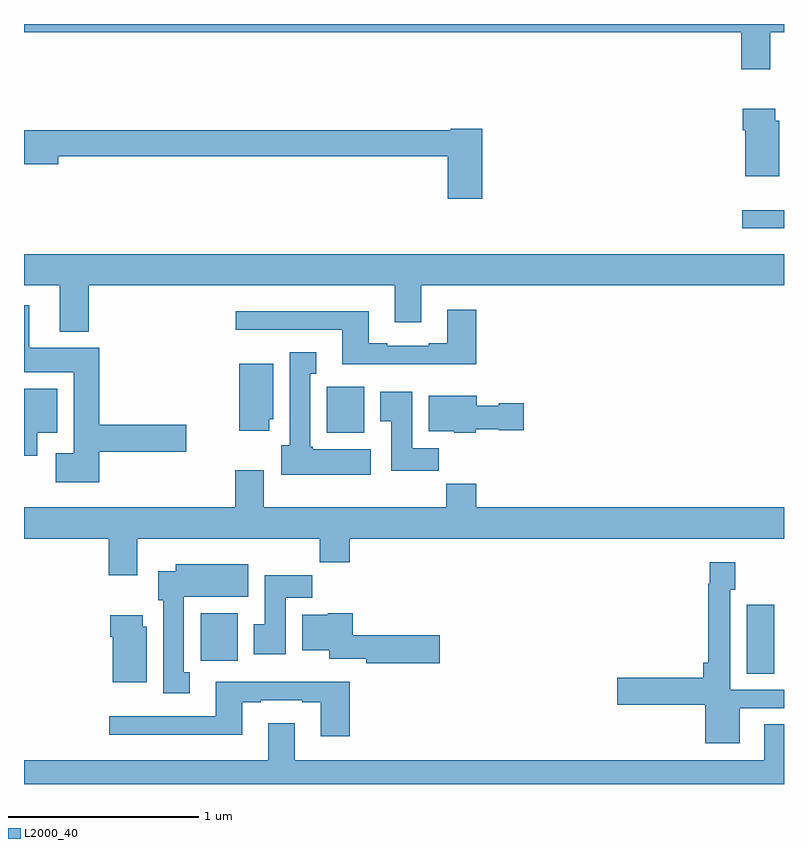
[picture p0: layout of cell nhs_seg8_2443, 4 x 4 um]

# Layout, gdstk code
import gdstk
lib = gdstk.Library(unit=1e-6, precision=1e-09)
def R(c, l, rs):  # rectangles x0, y0, x1, y1
    for r in rs: c.add(gdstk.rectangle(r[:2], r[2:], *l))
def P(c, l, *ps):  # polygons
    for p in ps: c.add(gdstk.Polygon(p, *l))
L2000_40 = (2000, 40)

nhs_seg8_2443 = lib.new_cell('nhs_seg8_2443')
R(nhs_seg8_2443, L2000_40, [(268.805,1090.48,268.948,1090.843), (265.929,1090.548,266.125,1090.798), (266.594,1091.75,266.791,1091.992), (268.779,1092.824,269,1092.921)])
P(nhs_seg8_2443, L2000_40, [(268.927,1093.856),(269,1093.856),(269,1093.9),(265,1093.9),(265,1093.856),(268.775,1093.856),(268.775,1093.662),(268.927,1093.662)],
  [(268.975,1093.392),(268.954,1093.392),(268.954,1093.453),(268.784,1093.453),(268.784,1093.34),(268.796,1093.34),(268.796,1093.1),(268.975,1093.1)],
  [(267.413,1093.348),(267.246,1093.348),(267.246,1093.34),(265,1093.34),(265,1093.162),(265.18,1093.162),(265.18,1093.204),(267.23,1093.204),(267.23,1092.981),(267.413,1092.981)],
  [(265.34,1092.524),(266.951,1092.524),(266.951,1092.33),(267.091,1092.33),(267.091,1092.524),(269,1092.524),(269,1092.688),(265,1092.688),(265,1092.524),(265.187,1092.524),(265.187,1092.281),(265.34,1092.281)],
  [(265.397,1091.65),(265.855,1091.65),(265.855,1091.792),(265.397,1091.792),(265.397,1092.196),(265.027,1092.196),(265.027,1092.421),(265,1092.421),(265,1092.068),(265.262,1092.068),(265.262,1091.641),(265.167,1091.641),(265.167,1091.489),(265.397,1091.489)],
  [(267.38,1092.397),(267.227,1092.397),(267.227,1092.22),(267.131,1092.22),(267.131,1092.207),(266.911,1092.207),(266.911,1092.22),(266.815,1092.22),(266.815,1092.388),(266.115,1092.388),(266.115,1092.291),(266.675,1092.291),(266.675,1092.11),(267.38,1092.11)],
  [(266.824,1091.662),(266.52,1091.662),(266.52,1091.676),(266.506,1091.676),(266.506,1092.059),(266.539,1092.059),(266.539,1092.172),(266.399,1092.172),(266.399,1091.682),(266.354,1091.682),(266.354,1091.528),(266.824,1091.528)],
  [(266.29,1091.82),(266.311,1091.82),(266.311,1092.112),(266.132,1092.112),(266.132,1091.76),(266.29,1091.76)],
  [(265.069,1091.75),(265.174,1091.75),(265.174,1091.98),(265,1091.98),(265,1091.628),(265.069,1091.628)],
  [(267.182,1091.668),(267.043,1091.668),(267.043,1091.965),(266.876,1091.965),(266.876,1091.809),(266.933,1091.809),(266.933,1091.55),(267.182,1091.55)],
  [(267.378,1091.768),(267.498,1091.768),(267.498,1091.761),(267.631,1091.761),(267.631,1091.903),(267.498,1091.903),(267.498,1091.89),(267.382,1091.89),(267.382,1091.944),(267.131,1091.944),(267.131,1091.756),(267.264,1091.756),(267.264,1091.75),(267.378,1091.75)],
  [(265.597,1091.192),(266.557,1091.192),(266.557,1091.068),(266.714,1091.068),(266.714,1091.192),(269,1091.192),(269,1091.356),(267.38,1091.356),(267.38,1091.48),(267.223,1091.48),(267.223,1091.356),(266.263,1091.356),(266.263,1091.551),(266.111,1091.551),(266.111,1091.356),(265,1091.356),(265,1091.192),(265.445,1091.192),(265.445,1090.998),(265.597,1090.998)],
  [(268.768,1090.299),(269,1090.299),(269,1090.395),(268.716,1090.395),(268.716,1090.923),(268.743,1090.923),(268.743,1091.068),(268.608,1091.068),(268.608,1090.955),(268.6,1090.955),(268.6,1090.537),(268.574,1090.537),(268.574,1090.46),(268.122,1090.46),(268.122,1090.318),(268.586,1090.318),(268.586,1090.115),(268.768,1090.115)],
  [(265.873,1090.489),(265.84,1090.489),(265.84,1090.886),(266.179,1090.886),(266.179,1091.056),(265.799,1091.056),(265.799,1091.02),(265.706,1091.02),(265.706,1090.866),(265.733,1090.866),(265.733,1090.377),(265.873,1090.377)],
  [(266.377,1090.88),(266.516,1090.88),(266.516,1090.998),(266.267,1090.998),(266.267,1090.74),(266.21,1090.74),(266.21,1090.584),(266.377,1090.584)],
  [(267.187,1090.682),(266.729,1090.682),(266.729,1090.798),(266.598,1090.798),(266.598,1090.792),(266.465,1090.792),(266.465,1090.604),(266.606,1090.604),(266.606,1090.559),(266.802,1090.559),(266.802,1090.535),(267.187,1090.535)],
  [(265.645,1090.728),(265.624,1090.728),(265.624,1090.789),(265.454,1090.789),(265.454,1090.676),(265.466,1090.676),(265.466,1090.436),(265.645,1090.436)],
  [(266.714,1090.438),(266.009,1090.438),(266.009,1090.257),(265.449,1090.257),(265.449,1090.16),(266.149,1090.16),(266.149,1090.329),(266.245,1090.329),(266.245,1090.341),(266.465,1090.341),(266.465,1090.329),(266.561,1090.329),(266.561,1090.152),(266.714,1090.152)],
  [(269,1090.214),(268.895,1090.214),(268.895,1090.024),(266.425,1090.024),(266.425,1090.219),(266.285,1090.219),(266.285,1090.024),(265,1090.024),(265,1089.9),(269,1089.9)])

lib.write_gds('nhs_seg8_2443.gds')
